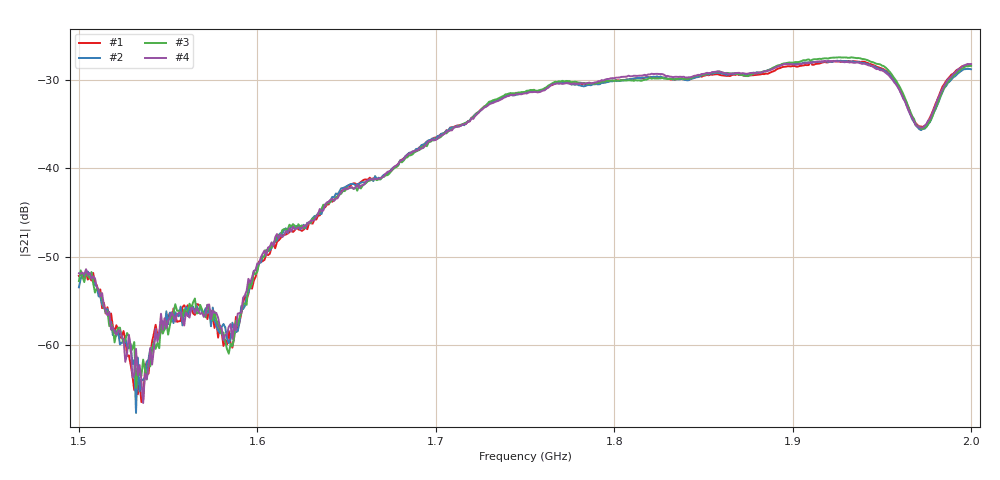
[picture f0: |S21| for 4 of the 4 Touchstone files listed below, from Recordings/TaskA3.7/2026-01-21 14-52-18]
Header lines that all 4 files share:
! NanoVNA-App by SYSJOINT et al v1.1.209 (+OD18)
! Start: 1,5GHz Stop: 2GHz Points: 501
! S-Parameter data: F S11 S21 S12 S22
# Hz S RI R 50
!  Frequency  S11_Real  S11_Imag  S21_Real  S21_Imag  S12_Real  S12_Imag  S22_Real  S22_Imag
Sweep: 1.5 GHz to 2 GHz
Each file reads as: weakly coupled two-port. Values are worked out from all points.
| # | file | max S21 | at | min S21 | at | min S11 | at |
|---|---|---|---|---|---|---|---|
| 1 | 0.s2p | -27.88 dB | 1.923 GHz | -66.4 dB | 1.535 GHz | -31.8 dB | 1.817 GHz |
| 2 | 1.s2p | -27.85 dB | 1.925 GHz | -67.7 dB | 1.532 GHz | -31.2 dB | 1.817 GHz |
| 3 | 2.s2p | -27.47 dB | 1.926 GHz | -64.8 dB | 1.532 GHz | -31.0 dB | 1.817 GHz |
| 4 | 3.s2p | -27.88 dB | 1.92 GHz | -66.5 dB | 1.536 GHz | -30.0 dB | 1.768 GHz |
